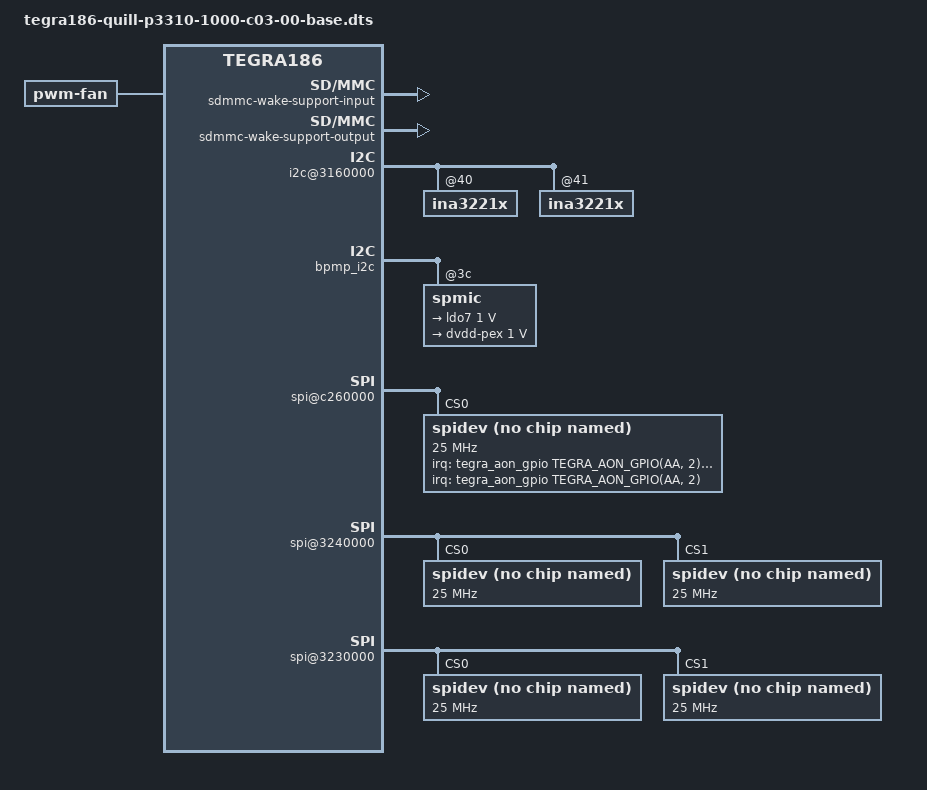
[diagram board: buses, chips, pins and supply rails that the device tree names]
/*
 * tegra186-quill-p3310-c03-00-base.dts Quill C03 Board
 *
 * Copyright (c) 2016-2017, NVIDIA CORPORATION. All rights reserved.
 *
 * This program is free software; you can redistribute it and/or modify
 * it under the terms of the GNU General Public License as published by
 * the Free Software Foundation; version 2 of the License.
 *
 * This program is distributed in the hope that it will be useful, but WITHOUT
 * ANY WARRANTY; without even the implied warranty of MERCHANTABILITY or
 * FITNESS FOR A PARTICULAR PURPOSE.  See the GNU General Public License for
 * more details.
 */

#include "tegra186-quill-p3310-1000-a00-00-base.dts"

/ {
	nvidia,dtsfilename = __FILE__;
	nvidia,dtbbuildtime = __DATE__, __TIME__;

        nvidia,boardids = "3310:0000:C03";
        nvidia,proc-boardid = "3310:0000:C03";

	pinmux@2430000 {
		common {
			gpio_edp2_pp5 {
				status = "okay";
			};

			gpio_edp3_pp6 {
				status = "okay";
			};
		};
	};

	gpio@2200000 {
		sdmmc-wake-support-input {
			status = "okay";
		};

		sdmmc-wake-support-output {
			status = "okay";
		};
	};

	fixed-regulators {
		regulator@1 {
			gpio = <&tegra_main_gpio TEGRA_MAIN_GPIO(P, 6) 0>;
                };
	};

	sdhci@3400000 {
		cd-gpios = <&tegra_main_gpio TEGRA_MAIN_GPIO(P, 5) 0>;
		nvidia,cd-wakeup-capable;
	};

	i2c@3160000 {
		ina3221x@40 {
			channel@0 {
				ti,shunt-resistor-mohm = <10>;
			};
			channel@1 {
				ti,shunt-resistor-mohm = <10>;
			};
		};
		ina3221x@41 {
			channel@0 {
				ti,shunt-resistor-mohm = <20>;
			};
			channel@1 {
				ti,shunt-resistor-mohm = <10>;
			};
			channel@2 {
				ti,rail-name = "VDD_SYS_DDR";
				ti,shunt-resistor-mohm = <10>;
			};
		};
	};

	ahci-sata@3507000 {
		gpios = <&spmic 7 0>;
	};

	pcie-controller@10003000 {
		pci@1,0 {
			nvidia,num-lanes = <4>;
			nvidia,disable-clock-request;
		};
		pci@2,0 {
			nvidia,num-lanes = <0>;
		};
		pci@3,0 {
			nvidia,num-lanes = <1>;
		};
	};

        xhci@3530000 {
		phys = <&tegra_xusb_padctl TEGRA_PADCTL_PHY_UTMI_P(0)>,
			<&tegra_xusb_padctl TEGRA_PADCTL_PHY_UTMI_P(1)>,
			<&tegra_xusb_padctl TEGRA_PADCTL_PHY_USB3_P(0)>;
		phy-names = "utmi-0", "utmi-1", "usb3-0";
	};

	pinctrl@3520000 {
		pinmux {
			usb3-std-A-port2 {
				nvidia,lanes = "usb3-0";
			};
		};
	};

       bluedroid_pm {
		bluedroid_pm,reset-gpio = <&tegra_main_gpio TEGRA_MAIN_GPIO(H, 5) 0>;
        };

	bpmp_i2c {
		spmic@3c {
			pinmux@0 {
				pin_gpio2 {
					status = "disabled";
				};
				pin_gpio3 {
					status = "disabled";
				};
				pin_gpio7 {
					drive-push-pull = <1>;
				};
			};

			regulators {
				ldo0 {
					maxim,active-fps-source = <MAX77620_FPS_SRC_NONE>;
				};

				ldo6 {
					maxim,active-fps-source = <MAX77620_FPS_SRC_NONE>;
					regulator-boot-on;
					regulator-always-on;
				};

				ldo7 {
					regulator-min-microvolt = <1000000>;
					regulator-max-microvolt = <1000000>;
				};

				ldo8 {
					regulator-name = "dvdd-pex";
					regulator-min-microvolt = <1000000>;
					regulator-max-microvolt = <1000000>;
				};
			};
		};
	};

	//SPI1                     0x03210000    0x0321ffff        arspi.h
	//SPI2    AON_CLUSTER        0x0c260000    0x0c26ffff        arspi.h
	//SPI3                     0x03230000    0x0323ffff        arspi.h
	//SPI4                     0x03240000    0x0324ffff        arspi.h

	//3240000 
	//c260000

	//SPI0 E3 F3 E4 F4 G14=Interrupt SPI0 before "Display Connector" now "IMU"
	spi@c260000 {
		status = "okay";
		spidev@0 {
			compatible = "spidev";
			reg = <0>;
			spi-max-frequency=<25000000>;
			irq-gpio = <&tegra_aon_gpio TEGRA_AON_GPIO(AA, 2) 0x01>;
			interrupt-parent = <&tegra_aon_gpio>;
			interrupts = <TEGRA_AON_GPIO(AA, 2) 0x01>; /* GPIO_PAA2 */
		};
	};


	//SPI1 G13 E14 F14 F13 before Expansion Header now CAN-MCP251x
	spi@3240000 {
		status = "okay";
		spidev@0 {
			compatible = "spidev";
			reg = <0>;
			spi-max-frequency=<25000000>;
		};
		spidev@1 {
			compatible = "spidev";
			reg = <1>;
			spi-max-frequency=<25000000>;
		};
	};

	//SPI2 H14 H15 G15 G16 F16 before Expansion Header now SPI connector
	spi@3230000 {
		status = "okay";
		spidev@0 {
			compatible = "spidev";
			reg = <0>;
			spi-max-frequency=<25000000>;
		};
		spidev@1 {
			compatible = "spidev";
			reg = <1>;
			spi-max-frequency=<25000000>;
		};
	};

	pwm_fan_shared_data: pfsd {
		status = "okay";
		num_resources = <0>;
		secret = <47>;
		active_steps = <10>;
		active_rpm = <0 1000 2000 3000 4000 5000 6000 7000 10000 11000>;
		rpm_diff_tolerance = <2>;
		active_rru = <40 2 1 1 1 1 1 1 1 1>;
		active_rrd = <40 2 1 1 1 1 1 1 1 1>;
		state_cap_lookup = <2 2 2 2 3 3 3 4 4 4>;
		pwm_period = <45334>;
		pwm_id = <3>;
		step_time = <100>; /* mesecs */
		state_cap = <7>;
		active_pwm_max = <256>;
		tach_period = <1000>;
		/*pwm_gpio = <&tegra_aon_gpio TEGRA_AON_GPIO(V, 6) GPIO_ACTIVE_LOW>; /* TEGRA_MAIN_GPIO_PV6 */
		pwm_gpio = <&tegra_main_gpio TEGRA_MAIN_GPIO(J, 6) GPIO_ACTIVE_LOW>; /* TEGRA_MAIN_GPIO_PJ6 */
	};
	pwm-fan {
		status = "okay";
		compatible = "pwm-fan";

		shared_data = <&pwm_fan_shared_data>;
		active_pwm = <0 80 120 160 255 255 255 255 255 255>;
	};

};
